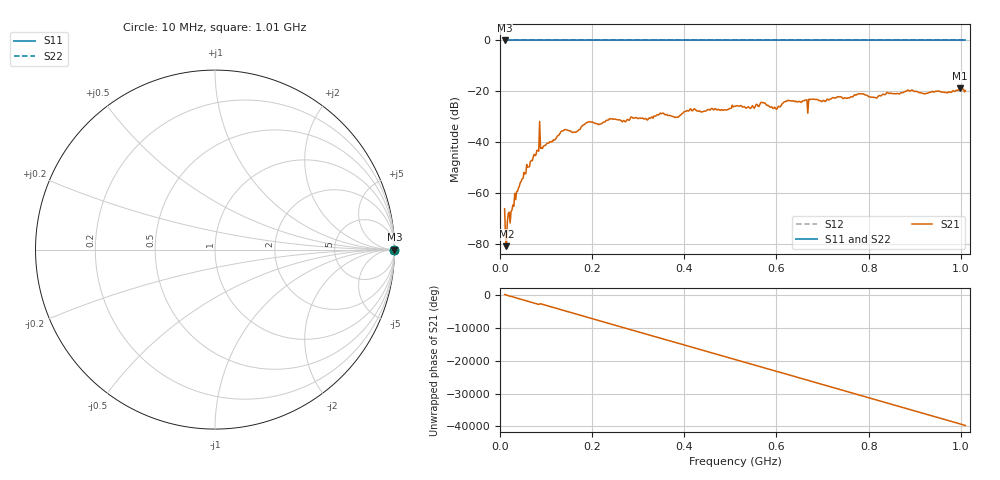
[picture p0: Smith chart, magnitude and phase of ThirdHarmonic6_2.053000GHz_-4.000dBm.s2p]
! 8/17/2025 12:36:27 AM
! C:\ANRITSUVNA\TEMP\TEMP.S2P
! CHANNEL.1
! TR.MEASUREMENT
! RAW.DATA
! RF.CORRECTION.OFF
! AVERAGING.OFF
! IF.BANDWIDTH: 5KHZ
! SWEEPTYPE:  FREQ.SWEEP(Linear)
! Reference Plane Port Info
! PORT:  PORT1  PORT2
! DISTANCE:  0  m  0  m
! TIME:  0  s  0  s
! PHASE.OFFSET:  0  deg.  0  deg.
! LOSS:  0  dB  0  dB
! REF.LOSS:  0  dB  0  dB
! REF.FREQ:  0  Hz  0  Hz
! Power Info
! POWER:  -20  dBm  -20  dBm
! EFF.POWER:  -20  dBm  -20  dBm
! SOURCE.ATTEN:  0  dB  0  dB
! TEST.ATTEN:  0  dB  0  dB
# GHZ S RI R 50.0
! FREQ.GHZ  S11RE  S11IM  S21RE  S21IM  S12RE  S12IM  S22RE  S22IM
!; PortSelection: Port_12
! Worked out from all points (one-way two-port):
!   501 points, 10 MHz to 1.01 GHz, reference 50 ohm
!   highest |S21| = -18.85 dB at 998 MHz (marker M1); lowest = -80.8 dB at 14 MHz (marker M2)
!   lowest |S11| = 0.0 dB at 10 MHz (marker M3)
!   |S11| at or under -10 dB: nowhere
!   |S22| runs from 0.0 to 0.0 dB; largest |S21 - S12| = 1.1
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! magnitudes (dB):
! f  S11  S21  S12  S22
! 10 MHz  0.0  -66.1  0.0  0.0
! 14 MHz  0.0  -80.8  0.0  0.0
! 48 MHz  0.0  -54.4  0.0  0.0
! 80 MHz  0.0  -43.2  0.0  0.0
! 84 MHz  0.0  -43.5  0.0  0.0
! 90 MHz  0.0  -42.1  0.0  0.0
! 92 MHz  0.0  -42.5  0.0  0.0
! 136 MHz  0.0  -35.5  0.0  0.0
! 162 MHz  0.0  -36.0  0.0  0.0
! 178 MHz  0.0  -33.7  0.0  0.0
! 344 MHz  0.0  -29.3  0.0  0.0
! 384 MHz  0.0  -30.1  0.0  0.0
! 410 MHz  0.0  -27.7  0.0  0.0
! 510 MHz  0.0  -25.8  0.0  0.0
! 570 MHz  0.0  -24.4  0.0  0.0
! 598 MHz  0.0  -26.6  0.0  0.0
! 624 MHz  0.0  -23.6  0.0  0.0
! 678 MHz  0.0  -23.1  0.0  0.0
! 814 MHz  0.0  -22.4  0.0  0.0
! 844 MHz  0.0  -20.9  0.0  0.0
! 998 MHz  0.0  -18.8  0.0  0.0
! 1.01 GHz  0.0  -19.7  0.0  0.0
